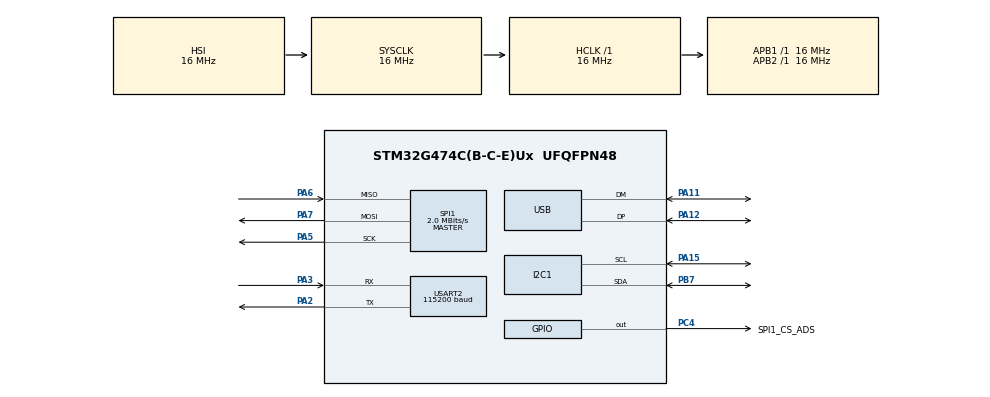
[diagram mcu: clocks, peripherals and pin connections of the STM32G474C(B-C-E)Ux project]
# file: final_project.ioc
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FREERTOS.Tasks01=defaultTask,24,128,StartDefaultTask,Default,NULL,Dynamic,NULL,NULL
FREERTOS.configTOTAL_HEAP_SIZE=16384
I2C1.Timing=0x00503D58
Mcu.Family=STM32G4
Mcu.Name=STM32G474C(B-C-E)Ux
Mcu.Package=UFQFPN48
NVIC.PriorityGroup=NVIC_PRIORITYGROUP_4
NVIC.TIM6_DAC_IRQn=true\:5\:0\:false\:false\:true\:true\:true\:true\:true
NVIC.USB_LP_IRQn=true\:5\:0\:false\:false\:true\:true\:false\:true\:true
PA11.Mode=Device
PA11.Signal=USB_DM
PA12.Mode=Device
PA12.Signal=USB_DP
PA15.Mode=I2C
PA15.Signal=I2C1_SCL
PA2.Mode=Asynchronous
PA2.Signal=USART2_TX
PA3.Mode=Asynchronous
PA3.Signal=USART2_RX
PA5.Mode=Full_Duplex_Master
PA5.Signal=SPI1_SCK
PA6.Mode=Full_Duplex_Master
PA6.Signal=SPI1_MISO
PA7.Mode=Full_Duplex_Master
PA7.Signal=SPI1_MOSI
PB7.Mode=I2C
PB7.Signal=I2C1_SDA
PC4.GPIO_Label=SPI1_CS_ADS
PC4.Signal=GPIO_Output
ProjectManager.HeapSize=0x200
ProjectManager.StackSize=0x400
ProjectManager.TargetToolchain=STM32CubeIDE
RCC.AHBFreq_Value=16000000
RCC.APB1Freq_Value=16000000
RCC.APB1TimFreq_Value=16000000
RCC.APB2Freq_Value=16000000
RCC.APB2TimFreq_Value=16000000
RCC.CortexFreq_Value=16000000
RCC.EXTERNAL_CLOCK_VALUE=12288000
RCC.HCLKFreq_Value=16000000
RCC.HSE_VALUE=8000000
RCC.HSI48_VALUE=48000000
RCC.HSI_VALUE=16000000
RCC.LSE_VALUE=32768
RCC.PLLN=12
RCC.PLLQ=RCC_PLLQ_DIV4
RCC.SYSCLKFreq_VALUE=16000000
RCC.USBFreq_Value=48000000
RCC.VCOOutputFreq_Value=192000000
SPI1.BaudRatePrescaler=SPI_BAUDRATEPRESCALER_8
SPI1.CLKPhase=SPI_PHASE_2EDGE
SPI1.CalculateBaudRate=2.0 MBits/s
SPI1.DataSize=SPI_DATASIZE_8BIT
SPI1.Direction=SPI_DIRECTION_2LINES
SPI1.Mode=SPI_MODE_MASTER
SPI1.VirtualType=VM_MASTER
TIM6.PeriodNoDither=3999
TIM6.Prescaler=15
USART2.BaudRate=115200
USART2.VirtualMode-Asynchronous=VM_ASYNC
USB_DEVICE.CLASS_NAME_FS=CDC
USB_DEVICE.VirtualMode=Cdc
USB_DEVICE.VirtualModeFS=Cdc_FS
VP_FREERTOS_VS_CMSIS_V2.Mode=CMSIS_V2
VP_SYS_VS_DBSignals.Mode=DisableDeadBatterySignals
VP_TIM6_VS_ClockSourceINT.Mode=Enable_Timer
VP_USB_DEVICE_VS_USB_DEVICE_CDC_FS.Mode=CDC_FS
board=custom

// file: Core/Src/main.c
/* USER CODE BEGIN Header */
/**
  ******************************************************************************
  * @file           : main.c
  * @brief          : Main program body
  ******************************************************************************
  * @attention
  *
  * Copyright (c) 2026 STMicroelectronics.
  * All rights reserved.
  *
  * This software is licensed under terms that can be found in the LICENSE file
  * in the root directory of this software component.
  * If no LICENSE file comes with this software, it is provided AS-IS.
  *
  ******************************************************************************
  */
/* USER CODE END Header */
#include "main.h"
#include "cmsis_os.h"
#include "i2c.h"
#include "spi.h"
#include "tim.h"
#include "usart.h"
#include "usb_device.h"
#include "gpio.h"

/* USER CODE BEGIN Includes */
#include <stdio.h>
/* USER CODE END Includes */

/* USER CODE BEGIN PD */
#define ADS_REG_ID 0x00
/* USER CODE END PD */

void SystemClock_Config(void);
void MX_FREERTOS_Init(void);

int main(void)
{

  /* MCU Configuration--------------------------------------------------------*/

  /* Reset of all peripherals, Initializes the Flash interface and the Systick. */
  HAL_Init();

  /* Configure the system clock */
  SystemClock_Config();

  /* Initialize all configured peripherals */
  MX_GPIO_Init();
  MX_SPI1_Init();
  MX_USART2_UART_Init();
  MX_I2C1_Init();
  MX_TIM6_Init();
  /* USER CODE BEGIN 2 */
  HAL_GPIO_WritePin(SPI1_CS_ADS_GPIO_Port, SPI1_CS_ADS_Pin, GPIO_PIN_SET);
  /* USER CODE END 2 */

  /* Init scheduler */
  osKernelInitialize();  /* Call init function for freertos objects (in cmsis_os2.c) */
  MX_FREERTOS_Init();

  /* Start scheduler */
  osKernelStart();

  /* We should never get here as control is now taken by the scheduler */

  /* Infinite loop */
  while (1)
  {

  }
}

void SystemClock_Config(void)
{
  RCC_OscInitTypeDef RCC_OscInitStruct = {0};
  RCC_ClkInitTypeDef RCC_ClkInitStruct = {0};

  /** Configure the main internal regulator output voltage
  */
  HAL_PWREx_ControlVoltageScaling(PWR_REGULATOR_VOLTAGE_SCALE1);

  /** Initializes the RCC Oscillators according to the specified parameters
  * in the RCC_OscInitTypeDef structure.
  */
  RCC_OscInitStruct.OscillatorType = RCC_OSCILLATORTYPE_HSI;
  RCC_OscInitStruct.HSIState = RCC_HSI_ON;
  RCC_OscInitStruct.HSICalibrationValue = RCC_HSICALIBRATION_DEFAULT;
  RCC_OscInitStruct.PLL.PLLState = RCC_PLL_ON;
  RCC_OscInitStruct.PLL.PLLSource = RCC_PLLSOURCE_HSI;
  RCC_OscInitStruct.PLL.PLLM = RCC_PLLM_DIV1;
  RCC_OscInitStruct.PLL.PLLN = 12;
  RCC_OscInitStruct.PLL.PLLP = RCC_PLLP_DIV2;
  RCC_OscInitStruct.PLL.PLLQ = RCC_PLLQ_DIV4;
  RCC_OscInitStruct.PLL.PLLR = RCC_PLLR_DIV2;
  if (HAL_RCC_OscConfig(&RCC_OscInitStruct) != HAL_OK)
  {
    Error_Handler();
  }

  /** Initializes the CPU, AHB and APB buses clocks
  */
  RCC_ClkInitStruct.ClockType = RCC_CLOCKTYPE_HCLK|RCC_CLOCKTYPE_SYSCLK
                              |RCC_CLOCKTYPE_PCLK1|RCC_CLOCKTYPE_PCLK2;
  RCC_ClkInitStruct.SYSCLKSource = RCC_SYSCLKSOURCE_HSI;
  RCC_ClkInitStruct.AHBCLKDivider = RCC_SYSCLK_DIV1;
  RCC_ClkInitStruct.APB1CLKDivider = RCC_HCLK_DIV1;
  RCC_ClkInitStruct.APB2CLKDivider = RCC_HCLK_DIV1;

  if (HAL_RCC_ClockConfig(&RCC_ClkInitStruct, FLASH_LATENCY_0) != HAL_OK)
  {
    Error_Handler();
  }
}

void Error_Handler(void)
{
  __disable_irq();
  while (1)
  {
  }
}

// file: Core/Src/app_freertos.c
/* USER CODE BEGIN Header */
/**
  ******************************************************************************
  * File Name          : app_freertos.c
  * Description        : Code for freertos applications
  ******************************************************************************
  * @attention
  *
  * Copyright (c) 2026 STMicroelectronics.
  * All rights reserved.
  *
  * This software is licensed under terms that can be found in the LICENSE file
  * in the root directory of this software component.
  * If no LICENSE file comes with this software, it is provided AS-IS.
  *
  ******************************************************************************
  */
/* USER CODE END Header */

#include "FreeRTOS.h"
#include "task.h"
#include "main.h"
#include "cmsis_os.h"

#include "usb_device.h"

/* USER CODE BEGIN Includes */
#include "main_task.h"
#include <stdio.h>
#include "imu_task.h"
#include "wifi_task.h"
#include "sdcard_task.h"
#include "ads_task.h"
/* USER CODE END Includes */

/* Definitions for defaultTask */
osThreadId_t defaultTaskHandle;
const osThreadAttr_t defaultTask_attributes = {
  .name = "defaultTask",
  .priority = (osPriority_t) osPriorityNormal,
  .stack_size = 128 * 4
};

void StartDefaultTask(void *argument);

void MX_FREERTOS_Init(void); /* (MISRA C 2004 rule 8.1) */

void MX_FREERTOS_Init(void) {

  /* Create the thread(s) */
  /* creation of defaultTask */
  defaultTaskHandle = osThreadNew(StartDefaultTask, NULL, &defaultTask_attributes);

  /* USER CODE BEGIN RTOS_THREADS */
  /* add threads, ... */
    mainTaskHandle = osThreadNew(mainTask, NULL, &mainTaskAttributes);
    if (mainTaskHandle == NULL)
    {
    	printf("ERROR: mainTaskHandle\n\r");
      // TODO: Handle error?
      return;
    }

    imuTaskHandle = osThreadNew(imuTask, NULL, &imuTaskAttributes);
    if (imuTaskHandle == NULL)
    {
    	printf("ERROR: imuTaskHandle\n\r");
      // TODO: Handle error?
      return;
    }

    wifiTaskHandle = osThreadNew(wifiTask, NULL, &wifiTaskAttributes);
    if (wifiTaskHandle == NULL)
    {
    	printf("ERROR: wifiTaskHandle\n\r");
      // TODO: Handle error?
      return;
    }

    sdcardTaskHandle = osThreadNew(sdcardTask, NULL, &sdcardTaskAttributes);
    if (sdcardTaskHandle == NULL)
    {
    	printf("ERROR: sdcardTaskHandle\n\r");
      // TODO: Handle error?
      return;
    }

    adsTaskHandle = osThreadNew(adsTask, NULL, &adsTaskAttributes);
    if (adsTaskHandle == NULL)
    {
    	printf("ERROR: adsTaskHandle\n\r");
      // TODO: Handle error?
      return;
    }
  /* USER CODE END RTOS_THREADS */

}

void StartDefaultTask(void *argument)
{
  /* init code for USB_Device */
  MX_USB_Device_Init();
  /* USER CODE BEGIN StartDefaultTask */
  /* Infinite loop */
  for (;;)
    {
	  vTaskDelete(NULL);
    }
  /* USER CODE END StartDefaultTask */
}
